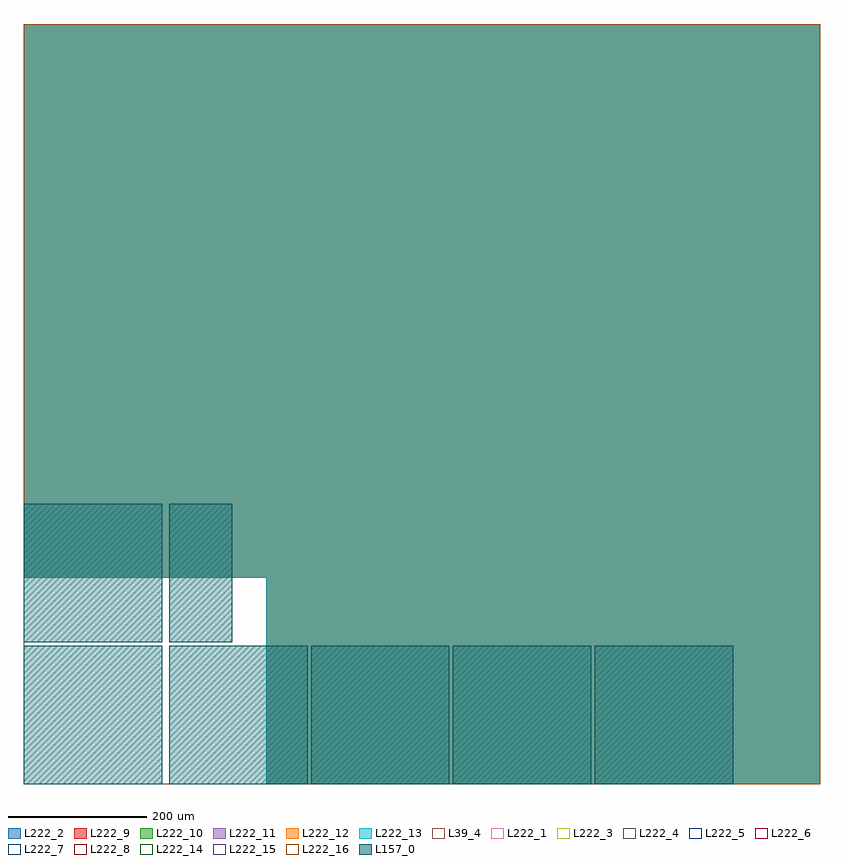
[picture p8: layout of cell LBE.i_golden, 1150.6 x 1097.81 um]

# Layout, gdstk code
import gdstk
lib = gdstk.Library(unit=1e-6, precision=1e-09)
def R(c, l, rs):  # rectangles x0, y0, x1, y1
    for r in rs: c.add(gdstk.rectangle(r[:2], r[2:], *l))
def A(c, l, x, y, w, h, nx, ny, dx, dy):  # array of equal rectangles
    R(c, l, [(x+i*dx, y+j*dy, x+i*dx+w, y+j*dy+h) for i in range(nx) for j in range(ny)])
L39_4 = (39, 4)
L157_0 = (157, 0)
L222_1 = (222, 1)
L222_2 = (222, 2)
L222_3 = (222, 3)
L222_4 = (222, 4)
L222_5 = (222, 5)
L222_6 = (222, 6)
L222_7 = (222, 7)
L222_8 = (222, 8)
L222_9 = (222, 9)
L222_10 = (222, 10)
L222_11 = (222, 11)
L222_12 = (222, 12)
L222_13 = (222, 13)
L222_14 = (222, 14)
L222_15 = (222, 15)
L222_16 = (222, 16)

lbe_i_golden = lib.new_cell('LBE.i_golden')
R(lbe_i_golden, L39_4, [(0,0,1150.6,1097.81)])
A(lbe_i_golden, L157_0, 210, 0, 200, 200, 4, 1, 205, 0)
R(lbe_i_golden, L157_0, [(0,0,200,200), (0,205,200,405), (210,205,301.37,405)])
R(lbe_i_golden, L222_1, [(0,0,1150.6,1097.81)])
R(lbe_i_golden, L222_2, [(350.6,0,1150.6,800), (0,297.81,800,1097.81), (350.6,297.81,1150.6,1097.81)])
R(lbe_i_golden, L222_3, [(0,0,1150.6,1097.81)])
R(lbe_i_golden, L222_4, [(0,0,1150.6,1097.81)])
R(lbe_i_golden, L222_5, [(0,0,1150.6,1097.81)])
R(lbe_i_golden, L222_6, [(0,0,1150.6,1097.81)])
R(lbe_i_golden, L222_7, [(0,0,1150.6,1097.81)])
R(lbe_i_golden, L222_8, [(0,0,1150.6,1097.81)])
R(lbe_i_golden, L222_9, [(350.6,0,1150.6,800), (0,297.81,800,1097.81), (350.6,297.81,1150.6,1097.81)])
R(lbe_i_golden, L222_10, [(350.6,0,1150.6,800), (0,297.81,800,1097.81), (350.6,297.81,1150.6,1097.81)])
R(lbe_i_golden, L222_11, [(350.6,0,1150.6,800), (0,297.81,800,1097.81), (350.6,297.81,1150.6,1097.81)])
R(lbe_i_golden, L222_12, [(350.6,0,1150.6,800), (0,297.81,800,1097.81), (350.6,297.81,1150.6,1097.81)])
R(lbe_i_golden, L222_13, [(350.6,0,1150.6,800), (0,297.81,800,1097.81), (350.6,297.81,1150.6,1097.81)])
R(lbe_i_golden, L222_14, [(0,0,1150.6,1097.81)])
R(lbe_i_golden, L222_15, [(0,0,1150.6,1097.81)])
R(lbe_i_golden, L222_16, [(0,0,1150.6,1097.81)])

lib.write_gds('LBE.i_golden.gds')
